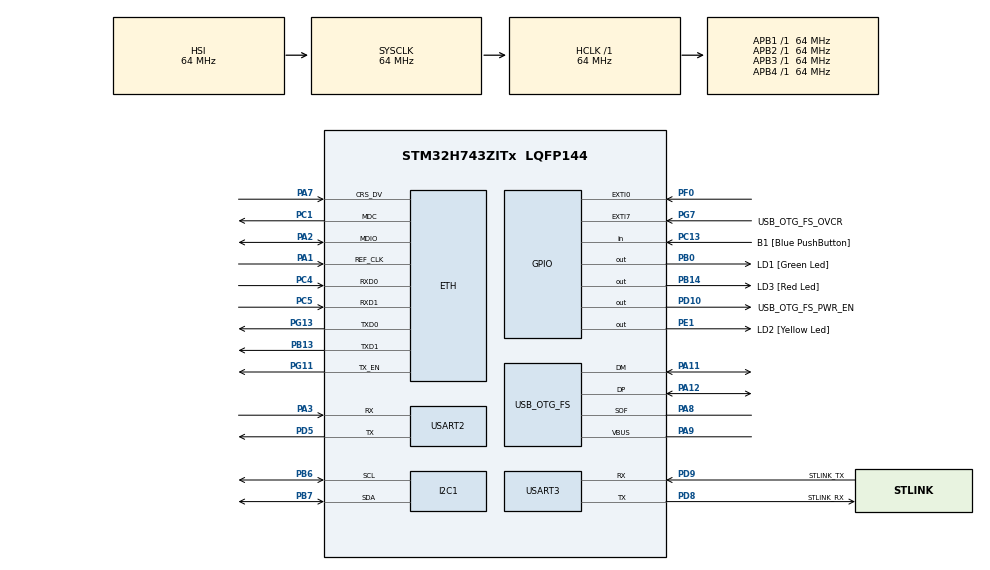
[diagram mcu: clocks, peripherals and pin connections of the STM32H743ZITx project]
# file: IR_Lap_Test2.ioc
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ETH.MediaInterface=HAL_ETH_RMII_MODE
Mcu.Family=STM32H7
Mcu.Name=STM32H743ZITx
Mcu.Package=LQFP144
NVIC.EXTI0_IRQn=true\:0\:0\:false\:false\:true\:true\:true\:true
NVIC.PriorityGroup=NVIC_PRIORITYGROUP_4
PA1.Mode=RMII
PA1.Signal=ETH_REF_CLK
PA11.Mode=Device_Only
PA11.Signal=USB_OTG_FS_DM
PA12.Mode=Device_Only
PA12.Signal=USB_OTG_FS_DP
PA2.Mode=RMII
PA2.Signal=ETH_MDIO
PA3.Mode=Asynchronous
PA3.Signal=USART2_RX
PA7.Mode=RMII
PA7.Signal=ETH_CRS_DV
PA8.Mode=Activate_SOF_FS
PA8.Signal=USB_OTG_FS_SOF
PA9.Mode=Activate_VBUS
PA9.Signal=USB_OTG_FS_VBUS
PB0.GPIO_Label=LD1 [Green Led]
PB0.Signal=GPIO_Output
PB13.Mode=RMII
PB13.Signal=ETH_TXD1
PB14.GPIO_Label=LD3 [Red Led]
PB14.Signal=GPIO_Output
PB6.Mode=I2C
PB6.Signal=I2C1_SCL
PB7.Mode=I2C
PB7.Signal=I2C1_SDA
PC1.Mode=RMII
PC1.Signal=ETH_MDC
PC13.GPIO_Label=B1 [Blue PushButton]
PC13.Signal=GPIO_Input
PC14-OSC32_IN\ (OSC32_IN).Mode=LSE-External-Oscillator
PC14-OSC32_IN\ (OSC32_IN).Signal=RCC_OSC32_IN
PC15-OSC32_OUT\ (OSC32_OUT).Mode=LSE-External-Oscillator
PC15-OSC32_OUT\ (OSC32_OUT).Signal=RCC_OSC32_OUT
PC4.Mode=RMII
PC4.Signal=ETH_RXD0
PC5.Mode=RMII
PC5.Signal=ETH_RXD1
PD10.GPIO_Label=USB_OTG_FS_PWR_EN
PD10.Signal=GPIO_Output
PD5.Mode=Asynchronous
PD5.Signal=USART2_TX
PD8.GPIO_Label=STLINK_RX
PD8.Mode=Asynchronous
PD8.Signal=USART3_TX
PD9.GPIO_Label=STLINK_TX
PD9.Mode=Asynchronous
PD9.Signal=USART3_RX
PE1.GPIO_Label=LD2 [Yellow Led]
PE1.Signal=GPIO_Output
PF0.GPIO_ModeDefaultEXTI=GPIO_MODE_IT_FALLING
PF0.Signal=GPXTI0
PG11.Mode=RMII
PG11.Signal=ETH_TX_EN
PG13.Mode=RMII
PG13.Signal=ETH_TXD0
PG7.GPIO_Label=USB_OTG_FS_OVCR
PG7.Signal=GPXTI7
PH0-OSC_IN\ (PH0).Mode=HSE-External-Clock-Source
PH0-OSC_IN\ (PH0).Signal=RCC_OSC_IN
PH1-OSC_OUT\ (PH1).Signal=RCC_OSC_OUT
ProjectManager.HeapSize=0x200
ProjectManager.StackSize=0x400
ProjectManager.TargetToolchain=STM32CubeIDE
RCC.ADCFreq_Value=16125000
RCC.APB1Freq_Value=64000000
RCC.APB2Freq_Value=64000000
RCC.APB3Freq_Value=64000000
RCC.APB4Freq_Value=64000000
RCC.CortexFreq_Value=64000000
RCC.DIVM1=1
RCC.DIVN1=24
RCC.DIVQ1=4
RCC.HCLKFreq_Value=64000000
RCC.HSE_VALUE=8000000
RCC.PLLFRACN=0
RCC.PWR_Regulator_Voltage_Scale=PWR_REGULATOR_VOLTAGE_SCALE2
RCC.SYSCLKFreq_VALUE=64000000
RCC.USBFreq_Value=48000000
TIM2.Prescaler=64000-1
USART2.VirtualMode-Asynchronous=VM_ASYNC
USART3.VirtualMode-Asynchronous=VM_ASYNC
USB_OTG_FS.VirtualMode=Device_Only
VP_TIM2_VS_ClockSourceINT.Mode=Internal
board=NUCLEO-H743ZI2

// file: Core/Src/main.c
/* USER CODE BEGIN Header */
/**
  ******************************************************************************
  * @file           : main.c
  * @brief          : Main program body
  ******************************************************************************
  * @attention
  *
  * Copyright (c) 2023 STMicroelectronics.
  * All rights reserved.
  *
  * This software is licensed under terms that can be found in the LICENSE file
  * in the root directory of this software component.
  * If no LICENSE file comes with this software, it is provided AS-IS.
  *
  ******************************************************************************
  */
/* USER CODE END Header */
#include "main.h"
#include "string.h"

/* USER CODE BEGIN Includes */
#include <stdio.h>

/* USER CODE END Includes */

/* USER CODE BEGIN PTD */
void printer(uint32_t runTime, uint8_t lapNumber);
void messanger(char* message);

/* USER CODE END PTD */

#if defined ( __ICCARM__ ) /*!< IAR Compiler */
#pragma location=0x30000000
ETH_DMADescTypeDef  DMARxDscrTab[ETH_RX_DESC_CNT]; /* Ethernet Rx DMA Descriptors */
#pragma location=0x30000200
ETH_DMADescTypeDef  DMATxDscrTab[ETH_TX_DESC_CNT]; /* Ethernet Tx DMA Descriptors */

#elif defined ( __CC_ARM )  /* MDK ARM Compiler */

__attribute__((at(0x30000000))) ETH_DMADescTypeDef  DMARxDscrTab[ETH_RX_DESC_CNT]; /* Ethernet Rx DMA Descriptors */
__attribute__((at(0x30000200))) ETH_DMADescTypeDef  DMATxDscrTab[ETH_TX_DESC_CNT]; /* Ethernet Tx DMA Descriptors */

#elif defined ( __GNUC__ ) /* GNU Compiler */
ETH_DMADescTypeDef DMARxDscrTab[ETH_RX_DESC_CNT] __attribute__((section(".RxDecripSection"))); /* Ethernet Rx DMA Descriptors */
ETH_DMADescTypeDef DMATxDscrTab[ETH_TX_DESC_CNT] __attribute__((section(".TxDecripSection")));   /* Ethernet Tx DMA Descriptors */

#endif

ETH_TxPacketConfig TxConfig;

ETH_HandleTypeDef heth;

I2C_HandleTypeDef hi2c1;

TIM_HandleTypeDef htim2;

UART_HandleTypeDef huart2;
UART_HandleTypeDef huart3;

PCD_HandleTypeDef hpcd_USB_OTG_FS;

/* USER CODE BEGIN PV */

uint8_t lapNumber = 1;
uint8_t bestLap = 1;
uint32_t bestTime = 99999999;
uint8_t runTimeDatabase[255];
/* USER CODE END PV */

void SystemClock_Config(void);
static void MX_GPIO_Init(void);
static void MX_ETH_Init(void);
static void MX_USART3_UART_Init(void);
static void MX_USB_OTG_FS_PCD_Init(void);
static void MX_TIM2_Init(void);
static void MX_I2C1_Init(void);
static void MX_USART2_UART_Init(void);

int main(void)
{

  /* MCU Configuration--------------------------------------------------------*/

  /* Reset of all peripherals, Initializes the Flash interface and the Systick. */
  HAL_Init();

  /* Configure the system clock */
  SystemClock_Config();

  /* Initialize all configured peripherals */
  MX_GPIO_Init();
  MX_ETH_Init();
  MX_USART3_UART_Init();
  MX_USB_OTG_FS_PCD_Init();
  MX_TIM2_Init();
  MX_I2C1_Init();
  MX_USART2_UART_Init();
  /* USER CODE BEGIN 2 */

HAL_TIM_Base_Start_IT(&htim2);
  /* USER CODE END 2 */

  /* Infinite loop */
while (1)
{

}
}

void SystemClock_Config(void)
{
  RCC_OscInitTypeDef RCC_OscInitStruct = {0};
  RCC_ClkInitTypeDef RCC_ClkInitStruct = {0};

  /** Supply configuration update enable
  */
  HAL_PWREx_ConfigSupply(PWR_LDO_SUPPLY);

  /** Configure the main internal regulator output voltage
  */
  __HAL_PWR_VOLTAGESCALING_CONFIG(PWR_REGULATOR_VOLTAGE_SCALE2);

  while(!__HAL_PWR_GET_FLAG(PWR_FLAG_VOSRDY)) {}

  /** Initializes the RCC Oscillators according to the specified parameters
  * in the RCC_OscInitTypeDef structure.
  */
  RCC_OscInitStruct.OscillatorType = RCC_OSCILLATORTYPE_HSI|RCC_OSCILLATORTYPE_HSE;
  RCC_OscInitStruct.HSEState = RCC_HSE_BYPASS;
  RCC_OscInitStruct.HSIState = RCC_HSI_DIV1;
  RCC_OscInitStruct.HSICalibrationValue = RCC_HSICALIBRATION_DEFAULT;
  RCC_OscInitStruct.PLL.PLLState = RCC_PLL_ON;
  RCC_OscInitStruct.PLL.PLLSource = RCC_PLLSOURCE_HSE;
  RCC_OscInitStruct.PLL.PLLM = 1;
  RCC_OscInitStruct.PLL.PLLN = 24;
  RCC_OscInitStruct.PLL.PLLP = 2;
  RCC_OscInitStruct.PLL.PLLQ = 4;
  RCC_OscInitStruct.PLL.PLLR = 2;
  RCC_OscInitStruct.PLL.PLLRGE = RCC_PLL1VCIRANGE_3;
  RCC_OscInitStruct.PLL.PLLVCOSEL = RCC_PLL1VCOWIDE;
  RCC_OscInitStruct.PLL.PLLFRACN = 0;
  if (HAL_RCC_OscConfig(&RCC_OscInitStruct) != HAL_OK)
  {
    Error_Handler();
  }

  /** Initializes the CPU, AHB and APB buses clocks
  */
  RCC_ClkInitStruct.ClockType = RCC_CLOCKTYPE_HCLK|RCC_CLOCKTYPE_SYSCLK
                              |RCC_CLOCKTYPE_PCLK1|RCC_CLOCKTYPE_PCLK2
                              |RCC_CLOCKTYPE_D3PCLK1|RCC_CLOCKTYPE_D1PCLK1;
  RCC_ClkInitStruct.SYSCLKSource = RCC_SYSCLKSOURCE_HSI;
  RCC_ClkInitStruct.SYSCLKDivider = RCC_SYSCLK_DIV1;
  RCC_ClkInitStruct.AHBCLKDivider = RCC_HCLK_DIV1;
  RCC_ClkInitStruct.APB3CLKDivider = RCC_APB3_DIV1;
  RCC_ClkInitStruct.APB1CLKDivider = RCC_APB1_DIV1;
  RCC_ClkInitStruct.APB2CLKDivider = RCC_APB2_DIV1;
  RCC_ClkInitStruct.APB4CLKDivider = RCC_APB4_DIV1;

  if (HAL_RCC_ClockConfig(&RCC_ClkInitStruct, FLASH_LATENCY_1) != HAL_OK)
  {
    Error_Handler();
  }
}

static void MX_ETH_Init(void)
{

   static uint8_t MACAddr[6];

  heth.Instance = ETH;
  MACAddr[0] = 0x00;
  MACAddr[1] = 0x80;
  MACAddr[2] = 0xE1;
  MACAddr[3] = 0x00;
  MACAddr[4] = 0x00;
  MACAddr[5] = 0x00;
  heth.Init.MACAddr = &MACAddr[0];
  heth.Init.MediaInterface = HAL_ETH_RMII_MODE;
  heth.Init.TxDesc = DMATxDscrTab;
  heth.Init.RxDesc = DMARxDscrTab;
  heth.Init.RxBuffLen = 1524;

  if (HAL_ETH_Init(&heth) != HAL_OK)
  {
    Error_Handler();
  }

  memset(&TxConfig, 0 , sizeof(ETH_TxPacketConfig));
  TxConfig.Attributes = ETH_TX_PACKETS_FEATURES_CSUM | ETH_TX_PACKETS_FEATURES_CRCPAD;
  TxConfig.ChecksumCtrl = ETH_CHECKSUM_IPHDR_PAYLOAD_INSERT_PHDR_CALC;
  TxConfig.CRCPadCtrl = ETH_CRC_PAD_INSERT;

}

static void MX_I2C1_Init(void)
{

  hi2c1.Instance = I2C1;
  hi2c1.Init.Timing = 0x10707DBC;
  hi2c1.Init.OwnAddress1 = 0;
  hi2c1.Init.AddressingMode = I2C_ADDRESSINGMODE_7BIT;
  hi2c1.Init.DualAddressMode = I2C_DUALADDRESS_DISABLE;
  hi2c1.Init.OwnAddress2 = 0;
  hi2c1.Init.OwnAddress2Masks = I2C_OA2_NOMASK;
  hi2c1.Init.GeneralCallMode = I2C_GENERALCALL_DISABLE;
  hi2c1.Init.NoStretchMode = I2C_NOSTRETCH_DISABLE;
  if (HAL_I2C_Init(&hi2c1) != HAL_OK)
  {
    Error_Handler();
  }

  /** Configure Analogue filter
  */
  if (HAL_I2CEx_ConfigAnalogFilter(&hi2c1, I2C_ANALOGFILTER_ENABLE) != HAL_OK)
  {
    Error_Handler();
  }

  /** Configure Digital filter
  */
  if (HAL_I2CEx_ConfigDigitalFilter(&hi2c1, 0) != HAL_OK)
  {
    Error_Handler();
  }

}

static void MX_TIM2_Init(void)
{

  TIM_ClockConfigTypeDef sClockSourceConfig = {0};
  TIM_MasterConfigTypeDef sMasterConfig = {0};

  htim2.Instance = TIM2;
  htim2.Init.Prescaler = 64000-1;
  htim2.Init.CounterMode = TIM_COUNTERMODE_UP;
  htim2.Init.Period = 4294967295;
  htim2.Init.ClockDivision = TIM_CLOCKDIVISION_DIV1;
  htim2.Init.AutoReloadPreload = TIM_AUTORELOAD_PRELOAD_DISABLE;
  if (HAL_TIM_Base_Init(&htim2) != HAL_OK)
  {
    Error_Handler();
  }
  sClockSourceConfig.ClockSource = TIM_CLOCKSOURCE_INTERNAL;
  if (HAL_TIM_ConfigClockSource(&htim2, &sClockSourceConfig) != HAL_OK)
  {
    Error_Handler();
  }
  sMasterConfig.MasterOutputTrigger = TIM_TRGO_RESET;
  sMasterConfig.MasterSlaveMode = TIM_MASTERSLAVEMODE_DISABLE;
  if (HAL_TIMEx_MasterConfigSynchronization(&htim2, &sMasterConfig) != HAL_OK)
  {
    Error_Handler();
  }

}

static void MX_USART2_UART_Init(void)
{

  huart2.Instance = USART2;
  huart2.Init.BaudRate = 115200;
  huart2.Init.WordLength = UART_WORDLENGTH_8B;
  huart2.Init.StopBits = UART_STOPBITS_1;
  huart2.Init.Parity = UART_PARITY_NONE;
  huart2.Init.Mode = UART_MODE_TX_RX;
  huart2.Init.HwFlowCtl = UART_HWCONTROL_NONE;
  huart2.Init.OverSampling = UART_OVERSAMPLING_16;
  huart2.Init.OneBitSampling = UART_ONE_BIT_SAMPLE_DISABLE;
  huart2.Init.ClockPrescaler = UART_PRESCALER_DIV1;
  huart2.AdvancedInit.AdvFeatureInit = UART_ADVFEATURE_NO_INIT;
  if (HAL_UART_Init(&huart2) != HAL_OK)
  {
    Error_Handler();
  }
  if (HAL_UARTEx_SetTxFifoThreshold(&huart2, UART_TXFIFO_THRESHOLD_1_8) != HAL_OK)
  {
    Error_Handler();
  }
  if (HAL_UARTEx_SetRxFifoThreshold(&huart2, UART_RXFIFO_THRESHOLD_1_8) != HAL_OK)
  {
    Error_Handler();
  }
  if (HAL_UARTEx_DisableFifoMode(&huart2) != HAL_OK)
  {
    Error_Handler();
  }

}

static void MX_USART3_UART_Init(void)
{

  huart3.Instance = USART3;
  huart3.Init.BaudRate = 115200;
  huart3.Init.WordLength = UART_WORDLENGTH_8B;
  huart3.Init.StopBits = UART_STOPBITS_1;
  huart3.Init.Parity = UART_PARITY_NONE;
  huart3.Init.Mode = UART_MODE_TX_RX;
  huart3.Init.HwFlowCtl = UART_HWCONTROL_NONE;
  huart3.Init.OverSampling = UART_OVERSAMPLING_16;
  huart3.Init.OneBitSampling = UART_ONE_BIT_SAMPLE_DISABLE;
  huart3.Init.ClockPrescaler = UART_PRESCALER_DIV1;
  huart3.AdvancedInit.AdvFeatureInit = UART_ADVFEATURE_NO_INIT;
  if (HAL_UART_Init(&huart3) != HAL_OK)
  {
    Error_Handler();
  }
  if (HAL_UARTEx_SetTxFifoThreshold(&huart3, UART_TXFIFO_THRESHOLD_1_8) != HAL_OK)
  {
    Error_Handler();
  }
  if (HAL_UARTEx_SetRxFifoThreshold(&huart3, UART_RXFIFO_THRESHOLD_1_8) != HAL_OK)
  {
    Error_Handler();
  }
  if (HAL_UARTEx_DisableFifoMode(&huart3) != HAL_OK)
  {
    Error_Handler();
  }

}

static void MX_USB_OTG_FS_PCD_Init(void)
{

  hpcd_USB_OTG_FS.Instance = USB_OTG_FS;
  hpcd_USB_OTG_FS.Init.dev_endpoints = 9;
  hpcd_USB_OTG_FS.Init.speed = PCD_SPEED_FULL;
  hpcd_USB_OTG_FS.Init.dma_enable = DISABLE;
  hpcd_USB_OTG_FS.Init.phy_itface = PCD_PHY_EMBEDDED;
  hpcd_USB_OTG_FS.Init.Sof_enable = ENABLE;
  hpcd_USB_OTG_FS.Init.low_power_enable = DISABLE;
  hpcd_USB_OTG_FS.Init.lpm_enable = DISABLE;
  hpcd_USB_OTG_FS.Init.battery_charging_enable = ENABLE;
  hpcd_USB_OTG_FS.Init.vbus_sensing_enable = ENABLE;
  hpcd_USB_OTG_FS.Init.use_dedicated_ep1 = DISABLE;
  if (HAL_PCD_Init(&hpcd_USB_OTG_FS) != HAL_OK)
  {
    Error_Handler();
  }

}

static void MX_GPIO_Init(void)
{
  GPIO_InitTypeDef GPIO_InitStruct = {0};

  /* GPIO Ports Clock Enable */
  __HAL_RCC_GPIOC_CLK_ENABLE();
  __HAL_RCC_GPIOF_CLK_ENABLE();
  __HAL_RCC_GPIOH_CLK_ENABLE();
  __HAL_RCC_GPIOA_CLK_ENABLE();
  __HAL_RCC_GPIOB_CLK_ENABLE();
  __HAL_RCC_GPIOD_CLK_ENABLE();
  __HAL_RCC_GPIOG_CLK_ENABLE();
  __HAL_RCC_GPIOE_CLK_ENABLE();

  /*Configure GPIO pin Output Level */
  HAL_GPIO_WritePin(GPIOB, LD1_Pin|LD3_Pin, GPIO_PIN_RESET);

  /*Configure GPIO pin Output Level */
  HAL_GPIO_WritePin(USB_OTG_FS_PWR_EN_GPIO_Port, USB_OTG_FS_PWR_EN_Pin, GPIO_PIN_RESET);

  /*Configure GPIO pin Output Level */
  HAL_GPIO_WritePin(LD2_GPIO_Port, LD2_Pin, GPIO_PIN_RESET);

  /*Configure GPIO pin : B1_Pin */
  GPIO_InitStruct.Pin = B1_Pin;
  GPIO_InitStruct.Mode = GPIO_MODE_INPUT;
  GPIO_InitStruct.Pull = GPIO_NOPULL;
  HAL_GPIO_Init(B1_GPIO_Port, &GPIO_InitStruct);

  /*Configure GPIO pin : PF0 */
  GPIO_InitStruct.Pin = GPIO_PIN_0;
  GPIO_InitStruct.Mode = GPIO_MODE_IT_FALLING;
  GPIO_InitStruct.Pull = GPIO_NOPULL;
  HAL_GPIO_Init(GPIOF, &GPIO_InitStruct);

  /*Configure GPIO pins : LD1_Pin LD3_Pin */
  GPIO_InitStruct.Pin = LD1_Pin|LD3_Pin;
  GPIO_InitStruct.Mode = GPIO_MODE_OUTPUT_PP;
  GPIO_InitStruct.Pull = GPIO_NOPULL;
  GPIO_InitStruct.Speed = GPIO_SPEED_FREQ_LOW;
  HAL_GPIO_Init(GPIOB, &GPIO_InitStruct);

  /*Configure GPIO pin : USB_OTG_FS_PWR_EN_Pin */
  GPIO_InitStruct.Pin = USB_OTG_FS_PWR_EN_Pin;
  GPIO_InitStruct.Mode = GPIO_MODE_OUTPUT_PP;
  GPIO_InitStruct.Pull = GPIO_NOPULL;
  GPIO_InitStruct.Speed = GPIO_SPEED_FREQ_LOW;
  HAL_GPIO_Init(USB_OTG_FS_PWR_EN_GPIO_Port, &GPIO_InitStruct);

  /*Configure GPIO pin : USB_OTG_FS_OVCR_Pin */
  GPIO_InitStruct.Pin = USB_OTG_FS_OVCR_Pin;
  GPIO_InitStruct.Mode = GPIO_MODE_IT_RISING;
  GPIO_InitStruct.Pull = GPIO_NOPULL;
  HAL_GPIO_Init(USB_OTG_FS_OVCR_GPIO_Port, &GPIO_InitStruct);

  /*Configure GPIO pin : LD2_Pin */
  GPIO_InitStruct.Pin = LD2_Pin;
  GPIO_InitStruct.Mode = GPIO_MODE_OUTPUT_PP;
  GPIO_InitStruct.Pull = GPIO_NOPULL;
  GPIO_InitStruct.Speed = GPIO_SPEED_FREQ_LOW;
  HAL_GPIO_Init(LD2_GPIO_Port, &GPIO_InitStruct);

  /* EXTI interrupt init*/
  HAL_NVIC_SetPriority(EXTI0_IRQn, 0, 0);
  HAL_NVIC_EnableIRQ(EXTI0_IRQn);

}

/* USER CODE BEGIN 4 */
void printer(uint32_t runTime, uint8_t lapNumber){
	uint8_t minutes = runTime/60000;
	uint8_t seconds = (runTime%60000)/1000;
	uint8_t milliseconds = runTime%1000;
	char buf[255];
	sprintf(buf, "Lap #%u:	%u minutes, %u seconds, %u milliseconds\r\n", lapNumber, minutes, seconds, milliseconds);
	HAL_UART_Transmit(&huart3, buf, strlen(buf), HAL_MAX_DELAY);
}
void messanger(char* message){
	char buf[255];
	sprintf(buf, "%s\r\n", message);
	HAL_UART_Transmit(&huart3, buf, strlen(buf), HAL_MAX_DELAY);
	HAL_Delay(1);
}
void HAL_GPIO_EXTI_Callback ( uint16_t GPIO_Pin ){
	uint32_t runTime = (__HAL_TIM_GET_COUNTER(&htim2));
	runTimeDatabase[lapNumber - 1] = runTime;
	printer(runTime, lapNumber);
	if(runTime < bestTime){
		bestTime = runTime;
		bestLap = lapNumber;
	}
	HAL_TIM_Base_Start_IT(&htim2);
	lapNumber++;
	messanger("Starting\n");
}
/* USER CODE END 4 */

void Error_Handler(void)
{
  __disable_irq();
  while (1)
  {
  }
}
